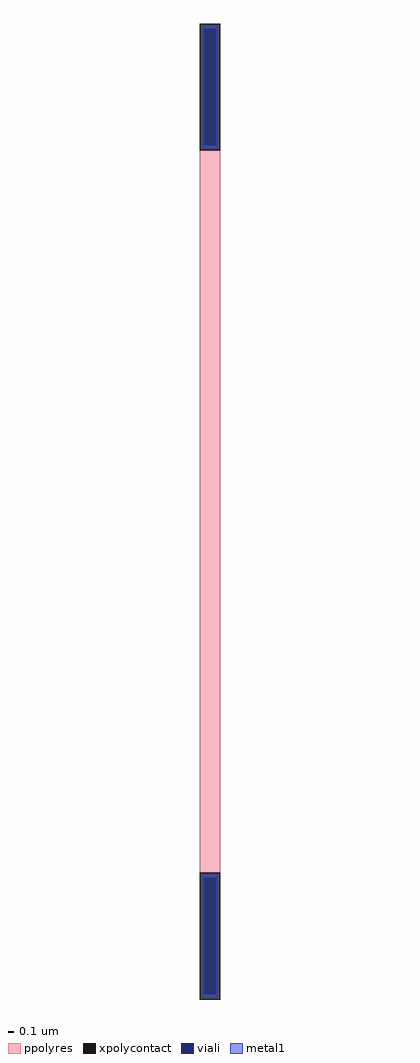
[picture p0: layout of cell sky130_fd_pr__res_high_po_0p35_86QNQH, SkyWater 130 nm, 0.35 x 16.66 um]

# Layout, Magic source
magic
tech sky130A
magscale 1 2
<< xpolycontact >>
rect -35 1234 35 1666
rect -35 -1666 35 -1234
<< ppolyres >>
rect -35 -1234 35 1234
<< viali >>
rect -19 1251 19 1648
rect -19 -1648 19 -1251
<< metal1 >>
rect -25 1648 25 1660
rect -25 1251 -19 1648
rect 19 1251 25 1648
rect -25 1239 25 1251
rect -25 -1251 25 -1239
rect -25 -1648 -19 -1251
rect 19 -1648 25 -1251
rect -25 -1660 25 -1648
<< properties >>
string gencell sky130_fd_pr__res_high_po_0p35
string library sky130
string parameters w 0.350 l 12.5 m 1 nx 1 wmin 0.350 lmin 0.50 rho 319.8 val 12.534k dummy 0 dw 0.0 term 194.82 sterm 0.0 caplen 0 guard 0 glc 1 grc 0 gtc 1 gbc 1 compatible {sky130_fd_pr__res_high_po_0p35  sky130_fd_pr__res_high_po_0p69 sky130_fd_pr__res_high_po_1p41  sky130_fd_pr__res_high_po_2p85 sky130_fd_pr__res_high_po_5p73} snake 0 full_metal 1 wmax 0.350 vias 1 n_guard 0 hv_guard 0 viagb 0 viagt 0 viagl 0 viagr 0
<< end >>
